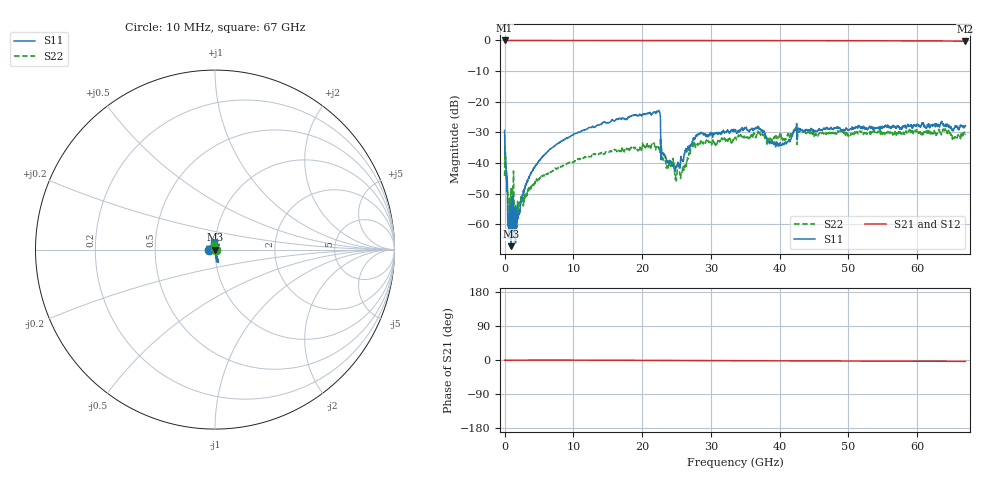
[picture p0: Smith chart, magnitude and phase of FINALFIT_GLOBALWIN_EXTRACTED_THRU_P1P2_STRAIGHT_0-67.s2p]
! Generated by Phase I extraction
# Hz S RI R 50
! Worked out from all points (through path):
!   1601 points, 10 MHz to 67 GHz, reference 50 ohm
!   highest |S21| = -0.08 dB at 10 MHz (marker M1); lowest = -0.3 dB at 67 GHz (marker M2)
!   lowest |S11| = -67.1 dB at 973 MHz (marker M3), VSWR 1.00, Z = 50 + j0.00279 ohm
!   |S11| at or under -10 dB: start of sweep to end of sweep
!   |S22| runs from -62.4 to -28.8 dB; largest |S21 - S12| = 0.0097
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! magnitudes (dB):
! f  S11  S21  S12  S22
! 10 MHz  -29.4  -0.1  -0.1  -44.3
! 554.3 MHz  -58.0  -0.1  -0.1  -53.8
! 805.5 MHz  -61.6  -0.1  -0.1  -55.4
! 973 MHz  -67.1  -0.1  -0.1  -57.3
! 1.266 GHz  -50.6  -0.1  -0.1  -48.2
! 1.768 GHz  -61.1  -0.1  -0.1  -56.7
! 3.15 GHz  -47.0  -0.1  -0.1  -50.4
! 5.244 GHz  -38.9  -0.1  -0.1  -44.6
! 11.19 GHz  -29.6  -0.1  -0.1  -38.6
! 22.37 GHz  -22.9  -0.1  -0.1  -34.9
! 23.08 GHz  -36.9  -0.1  -0.1  -39.1
! 24.71 GHz  -41.9  -0.1  -0.1  -42.8
! 25.8 GHz  -38.8  -0.1  -0.1  -43.2
! 27.35 GHz  -32.9  -0.1  -0.1  -35.1
! 28.27 GHz  -30.6  -0.1  -0.1  -33.2
! 33.51 GHz  -29.5  -0.1  -0.1  -31.9
! 36.9 GHz  -28.5  -0.1  -0.1  -30.1
! 39.99 GHz  -34.4  -0.2  -0.2  -31.6
! 42.17 GHz  -29.1  -0.2  -0.2  -29.1
! 44.68 GHz  -29.0  -0.1  -0.1  -30.1
! 55.86 GHz  -28.2  -0.2  -0.2  -30.4
! 67 GHz  -27.8  -0.3  -0.3  -30.9
